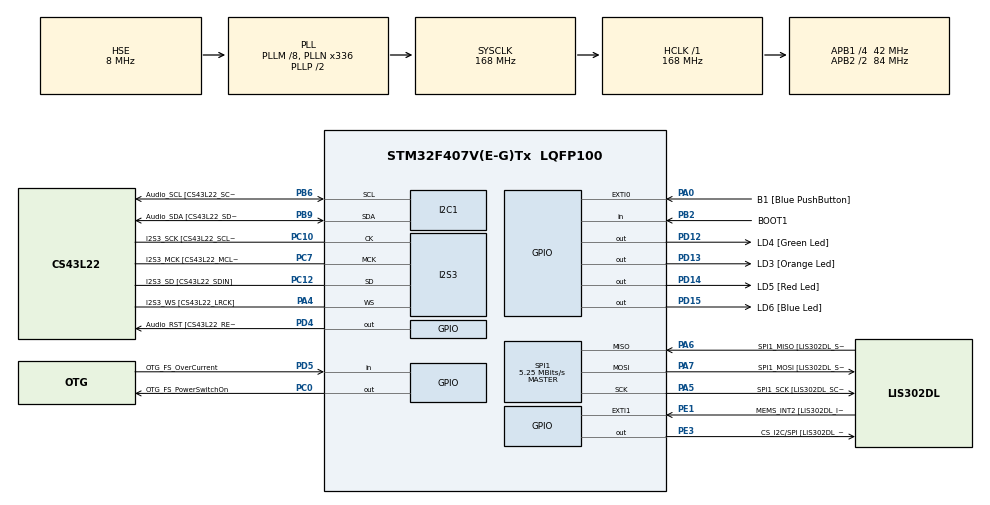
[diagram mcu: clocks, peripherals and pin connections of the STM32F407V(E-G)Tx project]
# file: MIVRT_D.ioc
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FREERTOS.Tasks01=Sensor,40,256,Task_sensor,Default,NULL,Dynamic,NULL,NULL;Proceso,32,256,Task_proceso,Default,NULL,Dynamic,NULL,NULL;Seguridad,24,256,Task_seguridad,Default,NULL,Dynamic,NULL,NULL;comms,16,256,Task_comms,Default,NULL,Dynamic,NULL,NULL;Carrera,8,128,Task_carrera,Default,NULL,Dynamic,NULL,NULL
I2S3.AudioFreq-Half_Duplex_Master=I2S_AUDIOFREQ_96K
I2S3.ErrorAudioFreq=-2.34 %
I2S3.ErrorAudioFreq-Half_Duplex_Master=0.8 %
I2S3.FullDuplexMode=I2S_FULLDUPLEXMODE_DISABLE
I2S3.Instance=SPI$Index
I2S3.RealAudioFreq=93.75 KHz
I2S3.RealAudioFreq-Half_Duplex_Master=96.774 KHz
I2S3.VirtualMode=I2S_MODE_MASTER
Mcu.Family=STM32F4
Mcu.Name=STM32F407V(E-G)Tx
Mcu.Package=LQFP100
NVIC.PriorityGroup=NVIC_PRIORITYGROUP_4
NVIC.TIM6_DAC_IRQn=true\:15\:0\:false\:false\:true\:false\:false\:true\:true
NVIC.TimeBase=TIM6_DAC_IRQn
NVIC.TimeBaseIP=TIM6
PA0-WKUP.GPIO_Label=B1 [Blue PushButton]
PA0-WKUP.GPIO_ModeDefaultEXTI=GPIO_MODE_EVT_RISING
PA0-WKUP.GPIO_PuPd=GPIO_NOPULL
PA0-WKUP.Signal=GPXTI0
PA10.GPIO_Label=OTG_FS_ID
PA10.GPIO_Mode=GPIO_MODE_AF_PP
PA10.GPIO_PuPd=GPIO_NOPULL
PA10.GPIO_Speed=GPIO_SPEED_FREQ_LOW
PA10.Signal=USB_OTG_FS_ID
PA11.GPIO_Label=OTG_FS_DM
PA11.GPIO_Mode=GPIO_MODE_AF_PP
PA11.GPIO_PuPd=GPIO_NOPULL
PA11.GPIO_Speed=GPIO_SPEED_FREQ_LOW
PA11.Signal=USB_OTG_FS_DM
PA12.GPIO_Label=OTG_FS_DP
PA12.GPIO_Mode=GPIO_MODE_AF_PP
PA12.GPIO_PuPd=GPIO_NOPULL
PA12.GPIO_Speed=GPIO_SPEED_FREQ_LOW
PA12.Signal=USB_OTG_FS_DP
PA13.GPIO_Label=SWDIO
PA13.Mode=Serial_Wire
PA13.Signal=SYS_JTMS-SWDIO
PA14.GPIO_Label=SWCLK
PA14.Mode=Serial_Wire
PA14.Signal=SYS_JTCK-SWCLK
PA4.GPIO_Label=I2S3_WS [CS43L22_LRCK]
PA4.GPIO_Mode=GPIO_MODE_AF_PP
PA4.GPIO_PuPd=GPIO_NOPULL
PA4.GPIO_Speed=GPIO_SPEED_FREQ_LOW
PA4.Mode=Half_Duplex_Master
PA4.Signal=I2S3_WS
PA5.GPIO_Label=SPI1_SCK [LIS302DL_SCL/SPC]
PA5.GPIO_Mode=GPIO_MODE_AF_PP
PA5.GPIO_PuPd=GPIO_NOPULL
PA5.GPIO_Speed=GPIO_SPEED_FREQ_LOW
PA5.Mode=Full_Duplex_Master
PA5.Signal=SPI1_SCK
PA6.GPIO_Label=SPI1_MISO [LIS302DL_SDO]
PA6.GPIO_Mode=GPIO_MODE_AF_PP
PA6.GPIO_PuPd=GPIO_NOPULL
PA6.GPIO_Speed=GPIO_SPEED_FREQ_LOW
PA6.Mode=Full_Duplex_Master
PA6.Signal=SPI1_MISO
PA7.GPIO_Label=SPI1_MOSI [LIS302DL_SDA/SDI/SDO]
PA7.GPIO_Mode=GPIO_MODE_AF_PP
PA7.GPIO_PuPd=GPIO_NOPULL
PA7.GPIO_Speed=GPIO_SPEED_FREQ_LOW
PA7.Mode=Full_Duplex_Master
PA7.Signal=SPI1_MOSI
PA9.GPIO_Label=VBUS_FS
PA9.GPIO_Mode=GPIO_MODE_INPUT
PA9.GPIO_PuPd=GPIO_NOPULL
PA9.Signal=USB_OTG_FS_VBUS
PB10.GPIO_Label=CLK_IN [MP45DT02_CLK]
PB10.GPIO_Mode=GPIO_MODE_AF_PP
PB10.GPIO_PuPd=GPIO_NOPULL
PB10.GPIO_Speed=GPIO_SPEED_FREQ_LOW
PB10.Signal=I2S2_CK
PB2.GPIO_Label=BOOT1
PB2.GPIO_Mode=GPIO_MODE_INPUT
PB2.GPIO_PuPd=GPIO_NOPULL
PB2.Signal=GPIO_Input
PB3.GPIO_Label=SWO
PB3.Signal=SYS_JTDO-SWO
PB6.GPIO_Label=Audio_SCL [CS43L22_SCL]
PB6.GPIO_Mode=GPIO_MODE_AF_OD
PB6.GPIO_Pu=GPIO_PULLUP
PB6.GPIO_PuPd=GPIO_NOPULL
PB6.GPIO_Speed=GPIO_SPEED_FREQ_LOW
PB6.Mode=I2C
PB6.Signal=I2C1_SCL
PB9.GPIO_Label=Audio_SDA [CS43L22_SDA]
PB9.GPIO_Mode=GPIO_MODE_AF_OD
PB9.GPIO_Pu=GPIO_PULLUP
PB9.GPIO_PuPd=GPIO_NOPULL
PB9.GPIO_Speed=GPIO_SPEED_FREQ_LOW
PB9.Mode=I2C
PB9.Signal=I2C1_SDA
PC0.GPIO_Label=OTG_FS_PowerSwitchOn
PC0.GPIO_PuPd=GPIO_NOPULL
PC0.GPIO_Speed=GPIO_SPEED_FREQ_LOW
PC0.PinState=GPIO_PIN_SET
PC0.Signal=GPIO_Output
PC10.GPIO_Label=I2S3_SCK [CS43L22_SCLK]
PC10.GPIO_Mode=GPIO_MODE_AF_PP
PC10.GPIO_PuPd=GPIO_NOPULL
PC10.GPIO_Speed=GPIO_SPEED_FREQ_LOW
PC10.Mode=Half_Duplex_Master
PC10.Signal=I2S3_CK
PC12.GPIO_Label=I2S3_SD [CS43L22_SDIN]
PC12.GPIO_Mode=GPIO_MODE_AF_PP
PC12.GPIO_PuPd=GPIO_NOPULL
PC12.GPIO_Speed=GPIO_SPEED_FREQ_LOW
PC12.Mode=Half_Duplex_Master
PC12.Signal=I2S3_SD
PC14-OSC32_IN.GPIO_Label=PC14-OSC32_IN
PC14-OSC32_IN.Mode=LSE-External-Oscillator
PC14-OSC32_IN.Signal=RCC_OSC32_IN
PC15-OSC32_OUT.GPIO_Label=PC15-OSC32_OUT
PC15-OSC32_OUT.Mode=LSE-External-Oscillator
PC15-OSC32_OUT.Signal=RCC_OSC32_OUT
PC3.GPIO_Label=PDM_OUT [MP45DT02_DOUT]
PC3.GPIO_Mode=GPIO_MODE_AF_PP
PC3.GPIO_PuPd=GPIO_NOPULL
PC3.GPIO_Speed=GPIO_SPEED_FREQ_LOW
PC3.Signal=I2S2_SD
PC7.GPIO_Label=I2S3_MCK [CS43L22_MCLK]
PC7.GPIO_Mode=GPIO_MODE_AF_PP
PC7.GPIO_PuPd=GPIO_NOPULL
PC7.GPIO_Speed=GPIO_SPEED_FREQ_LOW
PC7.Mode=Master_Clock_Activated
PC7.Signal=I2S3_MCK
PD12.GPIO_Label=LD4 [Green Led]
PD12.GPIO_PuPd=GPIO_NOPULL
PD12.GPIO_Speed=GPIO_SPEED_FREQ_LOW
PD12.Signal=GPIO_Output
PD13.GPIO_Label=LD3 [Orange Led]
PD13.GPIO_PuPd=GPIO_NOPULL
PD13.GPIO_Speed=GPIO_SPEED_FREQ_LOW
PD13.Signal=GPIO_Output
PD14.GPIO_Label=LD5 [Red Led]
PD14.GPIO_PuPd=GPIO_NOPULL
PD14.GPIO_Speed=GPIO_SPEED_FREQ_LOW
PD14.Signal=GPIO_Output
PD15.GPIO_Label=LD6 [Blue Led]
PD15.GPIO_PuPd=GPIO_NOPULL
PD15.GPIO_Speed=GPIO_SPEED_FREQ_LOW
PD15.Signal=GPIO_Output
PD4.GPIO_Label=Audio_RST [CS43L22_RESET]
PD4.GPIO_PuPd=GPIO_NOPULL
PD4.GPIO_Speed=GPIO_SPEED_FREQ_LOW
PD4.Signal=GPIO_Output
PD5.GPIO_Label=OTG_FS_OverCurrent
PD5.GPIO_Mode=GPIO_MODE_INPUT
PD5.GPIO_PuPd=GPIO_NOPULL
PD5.Signal=GPIO_Input
PE1.GPIO_Label=MEMS_INT2 [LIS302DL_INT2]
PE1.GPIO_ModeDefaultEXTI=GPIO_MODE_EVT_RISING
PE1.GPIO_PuPd=GPIO_NOPULL
PE1.Signal=GPXTI1
PE3.GPIO_Label=CS_I2C/SPI [LIS302DL_CS_I2C/SPI]
PE3.GPIO_PuPd=GPIO_NOPULL
PE3.GPIO_Speed=GPIO_SPEED_FREQ_LOW
PE3.PinState=GPIO_PIN_SET
PE3.Signal=GPIO_Output
PH0-OSC_IN.GPIO_Label=PH0-OSC_IN
PH0-OSC_IN.Mode=HSE-External-Oscillator
PH0-OSC_IN.Signal=RCC_OSC_IN
PH1-OSC_OUT.GPIO_Label=PH1-OSC_OUT
PH1-OSC_OUT.Mode=HSE-External-Oscillator
PH1-OSC_OUT.Signal=RCC_OSC_OUT
ProjectManager.HeapSize=0x200
ProjectManager.StackSize=0x400
ProjectManager.TargetToolchain=STM32CubeIDE
RCC.48MHZClocksFreq_Value=48000000
RCC.AHBFreq_Value=168000000
RCC.APB1CLKDivider=RCC_HCLK_DIV4
RCC.APB1Freq_Value=42000000
RCC.APB1TimFreq_Value=84000000
RCC.APB2CLKDivider=RCC_HCLK_DIV2
RCC.APB2Freq_Value=84000000
RCC.APB2TimFreq_Value=168000000
RCC.CortexFreq_Value=168000000
RCC.HCLKFreq_Value=168000000
RCC.HSE_VALUE=8000000
RCC.HSI_VALUE=16000000
RCC.PLLM=8
RCC.PLLN=336
RCC.PLLQ=7
RCC.PLLSourceVirtual=RCC_PLLSOURCE_HSE
RCC.SYSCLKFreq_VALUE=168000000
RCC.SYSCLKSource=RCC_SYSCLKSOURCE_PLLCLK
RCC.VCOOutputFreq_Value=336000000
SPI1.BaudRatePrescaler=SPI_BAUDRATEPRESCALER_16
SPI1.BaudRatePrescaler-Full_Duplex_Master=SPI_BAUDRATEPRESCALER_2
SPI1.CLKPhase=SPI_PHASE_2EDGE
SPI1.CLKPolarity=SPI_POLARITY_HIGH
SPI1.CalculateBaudRate=5.25 MBits/s
SPI1.CalculateBaudRate-Full_Duplex_Master=42.0 MBits/s
SPI1.Direction=SPI_DIRECTION_2LINES
SPI1.Mode=SPI_MODE_MASTER
SPI1.Mode-Full_Duplex_Master=SPI_MODE_MASTER
SPI1.VirtualType=VM_MASTER
VP_FREERTOS_VS_CMSIS_V2.Mode=CMSIS_V2
VP_SYS_VS_tim6.Mode=TIM6
board=STM32F407G-DISC1

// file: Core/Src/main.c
/* USER CODE BEGIN Header */
/**
  ******************************************************************************
  * @file           : main.c
  * @brief          : Main program body
  ******************************************************************************
  * @attention
  *
  * Copyright (c) 2026 STMicroelectronics.
  * All rights reserved.
  *
  * This software is licensed under terms that can be found in the LICENSE file
  * in the root directory of this software component.
  * If no LICENSE file comes with this software, it is provided AS-IS.
  *
  ******************************************************************************
  */
/* USER CODE END Header */
#include "main.h"
#include "cmsis_os.h"
#include <math.h>

/* USER CODE BEGIN PD */
#define LIS_READ 0x80 // bit de lectura en el primer byte
#define WHOAMI_REG 0x0F
#define WHOAMI_VAL 0x3F // firma del LIS3DSH
#define LIS_READ    0x80
#define WHOAMI_REG  0x0F
#define CTRL_REG4   0x20
#define CTRL_REG5   0x24
#define CTRL_REG6   0x25
#define OUT_X_L     0x28
/* USER CODE END PD */

I2C_HandleTypeDef hi2c1;

I2S_HandleTypeDef hi2s3;

SPI_HandleTypeDef hspi1;

/* Definitions for Sensor */
osThreadId_t SensorHandle;
const osThreadAttr_t Sensor_attributes = {
  .name = "Sensor",
  .stack_size = 256 * 4,
  .priority = (osPriority_t) osPriorityHigh,
};
/* Definitions for Proceso */
osThreadId_t ProcesoHandle;
const osThreadAttr_t Proceso_attributes = {
  .name = "Proceso",
  .stack_size = 256 * 4,
  .priority = (osPriority_t) osPriorityAboveNormal,
};
/* Definitions for Seguridad */
osThreadId_t SeguridadHandle;
const osThreadAttr_t Seguridad_attributes = {
  .name = "Seguridad",
  .stack_size = 256 * 4,
  .priority = (osPriority_t) osPriorityNormal,
};
/* Definitions for comms */
osThreadId_t commsHandle;
const osThreadAttr_t comms_attributes = {
  .name = "comms",
  .stack_size = 256 * 4,
  .priority = (osPriority_t) osPriorityBelowNormal,
};
/* Definitions for Carrera */
osThreadId_t CarreraHandle;
const osThreadAttr_t Carrera_attributes = {
  .name = "Carrera",
  .stack_size = 128 * 4,
  .priority = (osPriority_t) osPriorityLow,
};
/* USER CODE BEGIN PV */
volatile uint8_t who = 0;
volatile uint8_t r4 = 0;
volatile uint8_t r5 = 0;
volatile uint8_t r6 = 0;
volatile uint8_t init_err = 1;
volatile uint8_t raw[6];
volatile int16_t ax, ay, az;
volatile float ax_mg, ay_mg, az_mg;
volatile uint32_t c_sensor_max_us=0;
volatile uint32_t c_proceso_max_us=0;
volatile uint32_t c_seguridad_max_us=0;
volatile uint32_t c_comms_max_us=0;

volatile uint32_t sensor_periodo_us = 0;
volatile uint32_t sensor_per_max_us = 0;
volatile uint32_t sensor_per_min_us = 999999;
volatile uint32_t sensor_jitter_us = 0;

//Para apartado 1.9
volatile uint32_t sensor_R_ms = 0;        // tiempo de respuesta de Sensor
volatile uint32_t sensor_R_max_ms = 0;    // el peor tiempo de respuesta medido
volatile uint32_t sensor_perdidos = 0;    // plazos perdidos (R > 10 ms)

//Apartado 1.10
volatile float pitch_grados, roll_grados;
volatile uint32_t t_float;
volatile uint32_t t_double;

//Apartado 1.11
typedef enum { Verde, Naranja, Rojo, Fallo } estado_t;
volatile estado_t estado = Verde;
volatile float inclinacion = 0.0f;

//Apartado 1.12
volatile uint32_t contador = 0;
volatile uint32_t privado_sensor = 0, privado_carrera = 0;

/* USER CODE END PV */

void SystemClock_Config(void);
static void MX_GPIO_Init(void);
static void MX_I2C1_Init(void);
static void MX_I2S3_Init(void);
static void MX_SPI1_Init(void);
void Task_sensor(void *argument);
void Task_proceso(void *argument);
void Task_seguridad(void *argument);
void Task_comms(void *argument);
void Task_carrera(void *argument);

/* USER CODE BEGIN 0 */
static void cs_low(void)  { HAL_GPIO_WritePin(GPIOE, GPIO_PIN_3, GPIO_PIN_RESET); }
static void cs_high(void) { HAL_GPIO_WritePin(GPIOE, GPIO_PIN_3, GPIO_PIN_SET); }

// Lee 'n' (<= 6) registros consecutivos a partir de 'reg'.
void lis_read(uint8_t reg, uint8_t *buf, uint16_t n)
{
    uint8_t tx[7] = {0}, rx[7];
    tx[0] = LIS_READ | reg;                     // dirección + bit de lectura

    cs_low();
    HAL_SPI_TransmitReceive(&hspi1, tx, rx, n + 1, HAL_MAX_DELAY);  // una transacción de n+1 bytes
    cs_high();

    for (uint16_t i = 0; i < n; i++)
        buf[i] = rx[i + 1];                     // rx[0] se descarta (el sensor aún no contestaba)
}

void lis_write(uint8_t reg, uint8_t val)
{
    uint8_t tx[2];
    tx[0] = reg & 0x7F;                         // dirección con bit 7 = 0 (escritura)
    tx[1] = val;                                // valor a escribir

    cs_low();
    HAL_SPI_Transmit(&hspi1, tx, 2, HAL_MAX_DELAY);  // solo envío
    cs_high();
}

//PARTE B//

// Devuelve 0 si el sensor responde y queda configurado; 1 si no.
uint8_t lis_init(void)
{
    uint8_t id;
    lis_read(WHOAMI_REG, &id, 1);               // prueba de vida
    if (id != WHOAMI_VAL) return 1;             // si no es 0x3F → error

    lis_write(CTRL_REG4, 0x6F);                 // ODR 100 Hz, BDU = 1, X/Y/Z
    lis_write(CTRL_REG5, 0xC0);                 // ← faltaba: BW 50 Hz, ±2 g, sin self-test, 4 hilos
    lis_write(CTRL_REG6, 0x10);                 // ADD_INC = 1
    return 0;
}

static void leer_sensor(void)     // cada 10 ms
{
    lis_read(OUT_X_L, (uint8_t*)raw, 6);
    ax = (int16_t)((raw[1] << 8) | raw[0]);
    ay = (int16_t)((raw[3] << 8) | raw[2]);
    az = (int16_t)((raw[5] << 8) | raw[4]);
}

static void convertir_mg(void)    // cada 20 ms
{
	taskENTER_CRITICAL();
    ax_mg = ax * 0.06f;   //f para que l multiplicación se haga con 32 bits (en vez de double)
    ay_mg = ay * 0.06f;
    az_mg = az * 0.06f;
    taskEXIT_CRITICAL();

}

static void latido(void)          // cada 50 ms
{
    HAL_GPIO_TogglePin(GPIOD, GPIO_PIN_12);   // LED verde
}

static void actividad_larga(void)     // tarea de 15 ms, CPU para sin hacer nada
{
    uint32_t t0 = HAL_GetTick();
    while (HAL_GetTick() - t0 < 15) { }
}

void quemar_cpu_us(uint32_t us)
{
    uint32_t acc = 0, prev = DWT->CYCCNT;
    while (acc < us * 168u) {
        uint32_t now = DWT->CYCCNT, d = now - prev; prev = now;
        if (d < 1680u) acc += d;
    }
}
    //Apartado D-1 1.10
static void calcular_angulos(void)
{
	pitch_grados = atan2f(ax_mg, sqrtf(ay_mg*ay_mg + az_mg*az_mg)) * 57.29578f;
	roll_grados = atan2f(ay_mg, az_mg) * 57.29578f;
    }

static void comparar_fpu(void)
{
    uint32_t t0 = DWT->CYCCNT;
    volatile float pf = atan2f(ax_mg, sqrtf(ay_mg*ay_mg + az_mg*az_mg)) * 57.29578f;               // float (FPU)
    t_float = DWT->CYCCNT - t0;

    t0 = DWT->CYCCNT;
    volatile double pd = atan2((double)ax_mg, sqrt((double)ay_mg*ay_mg + (double)az_mg*az_mg))* 57.29578f;   // double (sin FPU)
    t_double = DWT->CYCCNT - t0;
}

//Apartado D 1.11

static void maquina_estados(void){

	inclinacion = fmaxf(fabsf(pitch_grados), fabsf(roll_grados));

	switch (estado) {
	    case Verde:
	      if (inclinacion >= 30.f )
	    	  estado = Rojo;
	      else if (inclinacion >= 15.0f)
	    	  estado=Naranja;
	      break;

	    case Naranja:
	      if (inclinacion >= 30.0f)
	    	  estado = Rojo;
	      else if (inclinacion <13.0f)
	    	  estado = Verde;
	      break;

	    case Rojo:
	      if (inclinacion < 13.0f)
	    	  estado = Verde;
	      else if(inclinacion<28.0f)
	    	  estado=Naranja;
	      break;

	    case Fallo:
	      break;
	  }

	switch (estado) {
		    case Verde:
		      HAL_GPIO_WritePin(GPIOD, GPIO_PIN_12, GPIO_PIN_SET);     // verde ON
		      HAL_GPIO_WritePin(GPIOD, GPIO_PIN_13, GPIO_PIN_RESET);   // naranja OFF
		      HAL_GPIO_WritePin(GPIOD, GPIO_PIN_14, GPIO_PIN_RESET);   // rojo OFF
		      break;

		    case Naranja:
		      HAL_GPIO_WritePin(GPIOD, GPIO_PIN_12, GPIO_PIN_RESET);     // verde OFF
		      HAL_GPIO_WritePin(GPIOD, GPIO_PIN_13, GPIO_PIN_SET);     // naranja ON
		      HAL_GPIO_WritePin(GPIOD, GPIO_PIN_14, GPIO_PIN_RESET);   // rojo OFF
		      break;

		    case Rojo:
		      HAL_GPIO_WritePin(GPIOD, GPIO_PIN_12, GPIO_PIN_RESET);     // verde OFF
		      HAL_GPIO_WritePin(GPIOD, GPIO_PIN_13, GPIO_PIN_RESET);     // naranja OFF
		      HAL_GPIO_WritePin(GPIOD, GPIO_PIN_14, GPIO_PIN_SET);     // rojo ON
		      break;

		    case Fallo:
		      HAL_GPIO_WritePin(GPIOD, GPIO_PIN_12, GPIO_PIN_RESET);   // verde OFF
		      HAL_GPIO_WritePin(GPIOD, GPIO_PIN_13, GPIO_PIN_RESET);   // naranja OFF
		      HAL_GPIO_TogglePin(GPIOD, GPIO_PIN_14);                  // rojo parpadeante
		      break;
		  }
}
//Apartado 1.12
void incrementa(void)
{
	  taskENTER_CRITICAL();
	  uint32_t tmp = contador;
	  quemar_cpu_us(200);
	  contador = tmp + 1;
	  taskEXIT_CRITICAL();
	}

/* USER CODE END 0 */

int main(void)
{

  /* MCU Configuration--------------------------------------------------------*/

  /* Reset of all peripherals, Initializes the Flash interface and the Systick. */
  HAL_Init();

  /* Configure the system clock */
  SystemClock_Config();

  /* Initialize all configured peripherals */
  MX_GPIO_Init();
  MX_I2C1_Init();
  MX_I2S3_Init();
  MX_SPI1_Init();
  /* USER CODE BEGIN 2 */

   // Lee 'n' (<= 6) registros consecutivos a partir de 'reg'.
  __HAL_SPI_ENABLE(&hspi1);                     // enciende el SPI1 ya: SCK queda en reposo alto antes de bajar CS
  HAL_Delay(10);                                // da tiempo al sensor a arrancar
  cs_high();                                    // CS en reposo
  init_err = lis_init();

  if (init_err ==1) estado = Fallo;

  lis_read(WHOAMI_REG, (uint8_t*)&who, 1);      // debe dar 0x3F
  lis_read(CTRL_REG4,  (uint8_t*)&r4, 1);       // debe dar 0x6F
  lis_read(CTRL_REG5,  (uint8_t*)&r5, 1);       // debe dar 0xC0
  lis_read(CTRL_REG6,  (uint8_t*)&r6, 1);       // debe dar 0x10

  ////////PARTE B///////

  CoreDebug->DEMCR |= CoreDebug_DEMCR_TRCENA_Msk;
  DWT->CYCCNT = 0;
  DWT->CTRL |= DWT_CTRL_CYCCNTENA_Msk;
  /* USER CODE END 2 */

  /* Init scheduler */
  osKernelInitialize();

  /* Create the thread(s) */
  /* creation of Sensor */
  SensorHandle = osThreadNew(Task_sensor, NULL, &Sensor_attributes);

  /* creation of Proceso */
  ProcesoHandle = osThreadNew(Task_proceso, NULL, &Proceso_attributes);

  /* creation of Seguridad */
  SeguridadHandle = osThreadNew(Task_seguridad, NULL, &Seguridad_attributes);

  /* creation of comms */
  commsHandle = osThreadNew(Task_comms, NULL, &comms_attributes);

  /* creation of Carrera */
  CarreraHandle = osThreadNew(Task_carrera, NULL, &Carrera_attributes);

  /* USER CODE BEGIN RTOS_THREADS */
  //osThreadSetPriority(ProcesoHandle, osPriorityRealtime);   // Reto 1.9 caso (b) descomentar para poner Proceso por encima de Sensor
  /* USER CODE END RTOS_THREADS */

  /* Start scheduler */
  osKernelStart();

  /* We should never get here as control is now taken by the scheduler */

  /* Infinite loop */
  while (1)
  {

  }
}

void SystemClock_Config(void)
{
  RCC_OscInitTypeDef RCC_OscInitStruct = {0};
  RCC_ClkInitTypeDef RCC_ClkInitStruct = {0};

  /** Configure the main internal regulator output voltage
  */
  __HAL_RCC_PWR_CLK_ENABLE();
  __HAL_PWR_VOLTAGESCALING_CONFIG(PWR_REGULATOR_VOLTAGE_SCALE1);

  /** Initializes the RCC Oscillators according to the specified parameters
  * in the RCC_OscInitTypeDef structure.
  */
  RCC_OscInitStruct.OscillatorType = RCC_OSCILLATORTYPE_HSE;
  RCC_OscInitStruct.HSEState = RCC_HSE_ON;
  RCC_OscInitStruct.PLL.PLLState = RCC_PLL_ON;
  RCC_OscInitStruct.PLL.PLLSource = RCC_PLLSOURCE_HSE;
  RCC_OscInitStruct.PLL.PLLM = 8;
  RCC_OscInitStruct.PLL.PLLN = 336;
  RCC_OscInitStruct.PLL.PLLP = RCC_PLLP_DIV2;
  RCC_OscInitStruct.PLL.PLLQ = 7;
  if (HAL_RCC_OscConfig(&RCC_OscInitStruct) != HAL_OK)
  {
    Error_Handler();
  }

  /** Initializes the CPU, AHB and APB buses clocks
  */
  RCC_ClkInitStruct.ClockType = RCC_CLOCKTYPE_HCLK|RCC_CLOCKTYPE_SYSCLK
                              |RCC_CLOCKTYPE_PCLK1|RCC_CLOCKTYPE_PCLK2;
  RCC_ClkInitStruct.SYSCLKSource = RCC_SYSCLKSOURCE_PLLCLK;
  RCC_ClkInitStruct.AHBCLKDivider = RCC_SYSCLK_DIV1;
  RCC_ClkInitStruct.APB1CLKDivider = RCC_HCLK_DIV4;
  RCC_ClkInitStruct.APB2CLKDivider = RCC_HCLK_DIV2;

  if (HAL_RCC_ClockConfig(&RCC_ClkInitStruct, FLASH_LATENCY_5) != HAL_OK)
  {
    Error_Handler();
  }
}

static void MX_I2C1_Init(void)
{

  hi2c1.Instance = I2C1;
  hi2c1.Init.ClockSpeed = 100000;
  hi2c1.Init.DutyCycle = I2C_DUTYCYCLE_2;
  hi2c1.Init.OwnAddress1 = 0;
  hi2c1.Init.AddressingMode = I2C_ADDRESSINGMODE_7BIT;
  hi2c1.Init.DualAddressMode = I2C_DUALADDRESS_DISABLE;
  hi2c1.Init.OwnAddress2 = 0;
  hi2c1.Init.GeneralCallMode = I2C_GENERALCALL_DISABLE;
  hi2c1.Init.NoStretchMode = I2C_NOSTRETCH_DISABLE;
  if (HAL_I2C_Init(&hi2c1) != HAL_OK)
  {
    Error_Handler();
  }

}

static void MX_I2S3_Init(void)
{

  hi2s3.Instance = SPI3;
  hi2s3.Init.Mode = I2S_MODE_MASTER_TX;
  hi2s3.Init.Standard = I2S_STANDARD_PHILIPS;
  hi2s3.Init.DataFormat = I2S_DATAFORMAT_16B;
  hi2s3.Init.MCLKOutput = I2S_MCLKOUTPUT_ENABLE;
  hi2s3.Init.AudioFreq = I2S_AUDIOFREQ_96K;
  hi2s3.Init.CPOL = I2S_CPOL_LOW;
  hi2s3.Init.ClockSource = I2S_CLOCK_PLL;
  hi2s3.Init.FullDuplexMode = I2S_FULLDUPLEXMODE_DISABLE;
  if (HAL_I2S_Init(&hi2s3) != HAL_OK)
  {
    Error_Handler();
  }

}

static void MX_SPI1_Init(void)
{

  /* SPI1 parameter configuration*/
  hspi1.Instance = SPI1;
  hspi1.Init.Mode = SPI_MODE_MASTER;
  hspi1.Init.Direction = SPI_DIRECTION_2LINES;
  hspi1.Init.DataSize = SPI_DATASIZE_8BIT;
  hspi1.Init.CLKPolarity = SPI_POLARITY_HIGH;
  hspi1.Init.CLKPhase = SPI_PHASE_2EDGE;
  hspi1.Init.NSS = SPI_NSS_SOFT;
  hspi1.Init.BaudRatePrescaler = SPI_BAUDRATEPRESCALER_16;
  hspi1.Init.FirstBit = SPI_FIRSTBIT_MSB;
  hspi1.Init.TIMode = SPI_TIMODE_DISABLE;
  hspi1.Init.CRCCalculation = SPI_CRCCALCULATION_DISABLE;
  hspi1.Init.CRCPolynomial = 10;
  if (HAL_SPI_Init(&hspi1) != HAL_OK)
  {
    Error_Handler();
  }

}

static void MX_GPIO_Init(void)
{
  GPIO_InitTypeDef GPIO_InitStruct = {0};

  /* GPIO Ports Clock Enable */
  __HAL_RCC_GPIOE_CLK_ENABLE();
  __HAL_RCC_GPIOC_CLK_ENABLE();
  __HAL_RCC_GPIOH_CLK_ENABLE();
  __HAL_RCC_GPIOA_CLK_ENABLE();
  __HAL_RCC_GPIOB_CLK_ENABLE();
  __HAL_RCC_GPIOD_CLK_ENABLE();

  /*Configure GPIO pin Output Level */
  HAL_GPIO_WritePin(CS_I2C_SPI_GPIO_Port, CS_I2C_SPI_Pin, GPIO_PIN_SET);

  /*Configure GPIO pin Output Level */
  HAL_GPIO_WritePin(OTG_FS_PowerSwitchOn_GPIO_Port, OTG_FS_PowerSwitchOn_Pin, GPIO_PIN_SET);

  /*Configure GPIO pin Output Level */
  HAL_GPIO_WritePin(GPIOD, LD4_Pin|LD3_Pin|LD5_Pin|LD6_Pin
                          |Audio_RST_Pin, GPIO_PIN_RESET);

  /*Configure GPIO pin : CS_I2C_SPI_Pin */
  GPIO_InitStruct.Pin = CS_I2C_SPI_Pin;
  GPIO_InitStruct.Mode = GPIO_MODE_OUTPUT_PP;
  GPIO_InitStruct.Pull = GPIO_NOPULL;
  GPIO_InitStruct.Speed = GPIO_SPEED_FREQ_LOW;
  HAL_GPIO_Init(CS_I2C_SPI_GPIO_Port, &GPIO_InitStruct);

  /*Configure GPIO pin : OTG_FS_PowerSwitchOn_Pin */
  GPIO_InitStruct.Pin = OTG_FS_PowerSwitchOn_Pin;
  GPIO_InitStruct.Mode = GPIO_MODE_OUTPUT_PP;
  GPIO_InitStruct.Pull = GPIO_NOPULL;
  GPIO_InitStruct.Speed = GPIO_SPEED_FREQ_LOW;
  HAL_GPIO_Init(OTG_FS_PowerSwitchOn_GPIO_Port, &GPIO_InitStruct);

  /*Configure GPIO pin : PDM_OUT_Pin */
  GPIO_InitStruct.Pin = PDM_OUT_Pin;
  GPIO_InitStruct.Mode = GPIO_MODE_AF_PP;
  GPIO_InitStruct.Pull = GPIO_NOPULL;
  GPIO_InitStruct.Speed = GPIO_SPEED_FREQ_LOW;
  GPIO_InitStruct.Alternate = GPIO_AF5_SPI2;
  HAL_GPIO_Init(PDM_OUT_GPIO_Port, &GPIO_InitStruct);

  /*Configure GPIO pin : B1_Pin */
  GPIO_InitStruct.Pin = B1_Pin;
  GPIO_InitStruct.Mode = GPIO_MODE_EVT_RISING;
  GPIO_InitStruct.Pull = GPIO_NOPULL;
  HAL_GPIO_Init(B1_GPIO_Port, &GPIO_InitStruct);

  /*Configure GPIO pin : BOOT1_Pin */
  GPIO_InitStruct.Pin = BOOT1_Pin;
  GPIO_InitStruct.Mode = GPIO_MODE_INPUT;
  GPIO_InitStruct.Pull = GPIO_NOPULL;
  HAL_GPIO_Init(BOOT1_GPIO_Port, &GPIO_InitStruct);

  /*Configure GPIO pin : CLK_IN_Pin */
  GPIO_InitStruct.Pin = CLK_IN_Pin;
  GPIO_InitStruct.Mode = GPIO_MODE_AF_PP;
  GPIO_InitStruct.Pull = GPIO_NOPULL;
  GPIO_InitStruct.Speed = GPIO_SPEED_FREQ_LOW;
  GPIO_InitStruct.Alternate = GPIO_AF5_SPI2;
  HAL_GPIO_Init(CLK_IN_GPIO_Port, &GPIO_InitStruct);

  /*Configure GPIO pins : LD4_Pin LD3_Pin LD5_Pin LD6_Pin
                           Audio_RST_Pin */
  GPIO_InitStruct.Pin = LD4_Pin|LD3_Pin|LD5_Pin|LD6_Pin
                          |Audio_RST_Pin;
  GPIO_InitStruct.Mode = GPIO_MODE_OUTPUT_PP;
  GPIO_InitStruct.Pull = GPIO_NOPULL;
  GPIO_InitStruct.Speed = GPIO_SPEED_FREQ_LOW;
  HAL_GPIO_Init(GPIOD, &GPIO_InitStruct);

  /*Configure GPIO pin : VBUS_FS_Pin */
  GPIO_InitStruct.Pin = VBUS_FS_Pin;
  GPIO_InitStruct.Mode = GPIO_MODE_INPUT;
  GPIO_InitStruct.Pull = GPIO_NOPULL;
  HAL_GPIO_Init(VBUS_FS_GPIO_Port, &GPIO_InitStruct);

  /*Configure GPIO pins : OTG_FS_ID_Pin OTG_FS_DM_Pin OTG_FS_DP_Pin */
  GPIO_InitStruct.Pin = OTG_FS_ID_Pin|OTG_FS_DM_Pin|OTG_FS_DP_Pin;
  GPIO_InitStruct.Mode = GPIO_MODE_AF_PP;
  GPIO_InitStruct.Pull = GPIO_NOPULL;
  GPIO_InitStruct.Speed = GPIO_SPEED_FREQ_LOW;
  GPIO_InitStruct.Alternate = GPIO_AF10_OTG_FS;
  HAL_GPIO_Init(GPIOA, &GPIO_InitStruct);

  /*Configure GPIO pin : OTG_FS_OverCurrent_Pin */
  GPIO_InitStruct.Pin = OTG_FS_OverCurrent_Pin;
  GPIO_InitStruct.Mode = GPIO_MODE_INPUT;
  GPIO_InitStruct.Pull = GPIO_NOPULL;
  HAL_GPIO_Init(OTG_FS_OverCurrent_GPIO_Port, &GPIO_InitStruct);

  /*Configure GPIO pin : MEMS_INT2_Pin */
  GPIO_InitStruct.Pin = MEMS_INT2_Pin;
  GPIO_InitStruct.Mode = GPIO_MODE_EVT_RISING;
  GPIO_InitStruct.Pull = GPIO_NOPULL;
  HAL_GPIO_Init(MEMS_INT2_GPIO_Port, &GPIO_InitStruct);

}

void Task_sensor(void *argument)
{
  /* USER CODE BEGIN 5 */
  /* Infinite loop */

	  uint32_t t_ant = 0;
	  uint32_t n = 0;
	  uint32_t t_sig = osKernelGetTickCount();

	  for(;;)
	  {
	    uint32_t t_act = t_sig;

	    uint32_t ahora = DWT->CYCCNT;
	    if (n >= 2) {
	        sensor_periodo_us = (ahora - t_ant) / 168;
	        if (sensor_periodo_us > sensor_per_max_us) sensor_per_max_us = sensor_periodo_us;
	        if (sensor_periodo_us < sensor_per_min_us) sensor_per_min_us = sensor_periodo_us;
	        sensor_jitter_us = sensor_per_max_us - sensor_per_min_us;
	    }
	    t_ant = ahora;
	    n++;

	    uint32_t t0 = DWT->CYCCNT;
	    leer_sensor();
	    incrementa();
	    privado_sensor++;
	    uint32_t c = (DWT->CYCCNT - t0) / 168;
	    if (c > c_sensor_max_us) c_sensor_max_us = c;

	    //Mido tiempo de respuesta maximo
	    sensor_R_ms = osKernelGetTickCount() - t_act;
	    if (sensor_R_ms > sensor_R_max_ms) sensor_R_max_ms = sensor_R_ms;
	    if (sensor_R_ms > 10) sensor_perdidos++;

	    //osDelay(10);
	    t_sig+=10;
	    osDelayUntil(t_sig);
	  }
  /* USER CODE END 5 */
}

void Task_proceso(void *argument)
{
  /* USER CODE BEGIN Task_proceso */
  /* Infinite loop */

  uint32_t t_sig = osKernelGetTickCount();
  for(;;)
  {
	  uint32_t t0=DWT->CYCCNT;
	  convertir_mg();
	  calcular_angulos();
	  comparar_fpu();
	  //quemar_cpu_us(12000); // Apartado 1.9
	  uint32_t c=(DWT->CYCCNT-t0)/168;

	  if (c>c_proceso_max_us) c_proceso_max_us=c;
      //osDelay(20);
      t_sig += 20;
      osDelayUntil(t_sig);
  }
  /* USER CODE END Task_proceso */
}

void Task_seguridad(void *argument)
{
  /* USER CODE BEGIN Task_seguridad */
  /* Infinite loop */
  uint32_t t_sig = osKernelGetTickCount();
  for(;;)
  {
	  uint32_t t0=DWT->CYCCNT;
	  //latido();
	  maquina_estados();
	  uint32_t c=(DWT->CYCCNT-t0)/168;

	  if (c>c_seguridad_max_us) c_seguridad_max_us=c;
	  //osDelay(50);
	  t_sig += 50;
	  osDelayUntil(t_sig);

  }
  /* USER CODE END Task_seguridad */
}

void Task_comms(void *argument)
{
  /* USER CODE BEGIN Task_comms */
  /* Infinite loop */
  uint32_t t_sig = osKernelGetTickCount();
  for(;;)
  {

	  uint32_t t0=DWT->CYCCNT;

	  uint32_t c=(DWT->CYCCNT-t0)/168;

	  if (c>c_comms_max_us) c_comms_max_us=c;
	   //osDelay(100);
	   t_sig += 100;
	   osDelayUntil(t_sig);
  }
  /* USER CODE END Task_comms */
}

void Task_carrera(void *argument)
{
  /* USER CODE BEGIN Task_carrera */
  /* Infinite loop */
  for(;;)
  {
	incrementa();
	privado_carrera++;
    //osDelay(1);
  }
  /* USER CODE END Task_carrera */
}

void HAL_TIM_PeriodElapsedCallback(TIM_HandleTypeDef *htim)
{
  if (htim->Instance == TIM6)
  {
    HAL_IncTick();
  }
}

void Error_Handler(void)
{
  __disable_irq();
  while (1)
  {
  }
}
